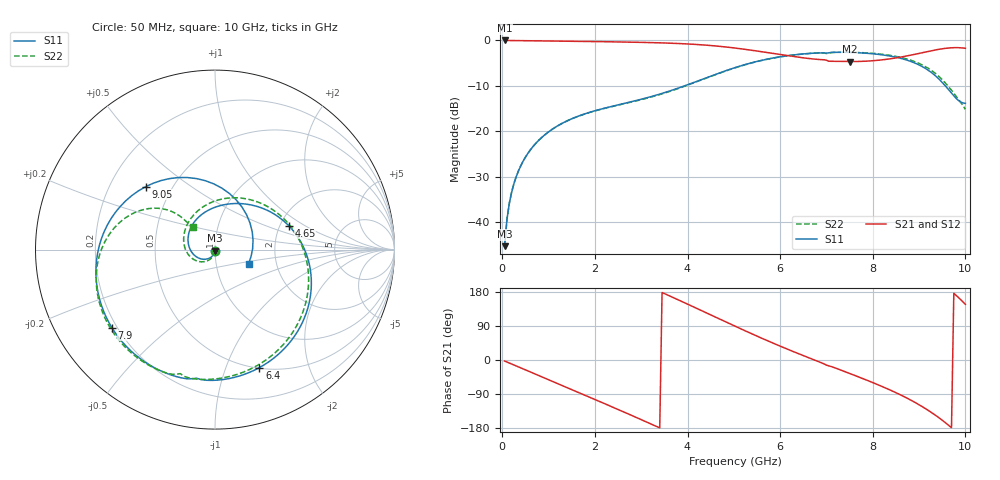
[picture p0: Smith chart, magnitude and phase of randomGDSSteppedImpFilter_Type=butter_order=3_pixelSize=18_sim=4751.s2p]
! freq	dB(S11)	phase(S11)	dB(S12)	phase(S12)
!  dB(S21)	phase(S21)	dB(S22)	phase(S22)
!S-par simulation data
#  GHz  S  DB  R 50
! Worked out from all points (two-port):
!   200 points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, 50 MHz to 10 GHz, reference 50 ohm
!   highest |S21| = -0.01 dB at 50 MHz (marker M1); lowest = -4.7 dB at 7.5 GHz (marker M2)
!   |S21| within 3 dB of the highest: start of sweep to 5.93 GHz; 8.93 GHz to end of sweep
!   lowest |S11| = -45.3 dB at 50 MHz (marker M3), VSWR 1.01, Z = 50 - j0.542 ohm
!   |S11| at or under -10 dB: start of sweep to 3.937 GHz; 9.565 GHz to end of sweep
!   |S22| runs from -45.3 to -2.6 dB; largest |S21 - S12| = 0
!   S11 on the Smith chart (normalised r, x): 50 MHz: 1.00, -0.01; 4.65 GHz: 2.23, +0.73; 6.4 GHz: 0.51, -1.32; 7.9 GHz: 0.18, -0.33; 9.05 GHz: 0.36, +0.34; 10 GHz: 1.44, -0.23
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0.05  -45.32 -89.6  -0.01 -2.7  -0.01 -2.7  -45.31 -88.9
0.1  -39.46 -94.1  -0.01 -5.3  -0.01 -5.3  -39.45 -92.7
0.2  -33.51 -101.2  -0.02 -10.5  -0.02 -10.5  -33.50 -98.4
0.5  -25.71 -119.9  -0.05 -26.1  -0.05 -26.1  -25.70 -113.0
1.15  -19.09 -158.6  -0.13 -59.9  -0.13 -59.9  -19.10 -143.1
1.75  -16.28 166.3  -0.21 -91.1  -0.21 -91.1  -16.31 -170.9
2.2  -14.94 140.7  -0.28 -114.7  -0.28 -114.7  -14.99 167.5
2.7  -13.71 113.3  -0.36 -141.2  -0.36 -141.2  -13.78 141.6
3.4  -11.83 77.9  -0.53 -179.1  -0.53 -179.1  -11.92 101.2
3.95  -9.95 51.7  -0.75 150.3  -0.75 150.3  -10.04 66.4
4.65  -7.30 18.0  -1.26 110.6  -1.26 110.6  -7.36 21.3
5.05  -5.91 -2.0  -1.70 87.9  -1.70 87.9  -5.96 -3.5
5.75  -4.06 -37.4  -2.72 49.6  -2.72 49.6  -4.09 -43.9
6.4  -3.07 -69.4  -3.71 16.5  -3.71 16.5  -3.08 -77.4
6.7  -2.82 -83.9  -4.07 1.9  -4.07 1.9  -2.82 -91.8
7.5  -2.64 -122.3  -4.66 -35.5  -4.66 -35.5  -2.60 -126.8
7.9  -2.85 -143.0  -4.54 -54.6  -4.54 -54.6  -2.76 -144.2
8.35  -3.40 -168.9  -4.08 -77.8  -4.08 -77.8  -3.25 -164.1
9.05  -5.65 137.7  -2.74 -121.7  -2.74 -121.7  -5.31 162.6
9.35  -7.76 104.7  -2.10 -145.5  -2.10 -145.5  -7.25 148.2
9.6  -10.41 67.0  -1.70 -168.6  -1.70 -168.6  -9.75 138.9
10  -13.85 -22.6  -1.73 147.0  -1.73 147.0  -15.19 134.6
